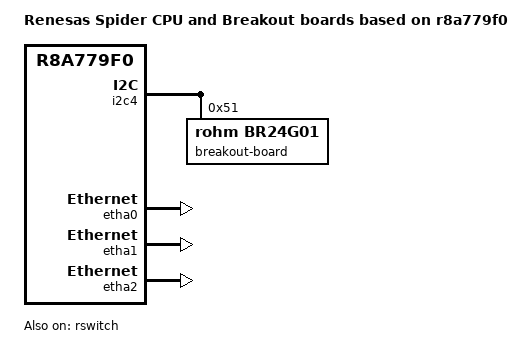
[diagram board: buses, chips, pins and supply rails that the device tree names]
// SPDX-License-Identifier: (GPL-2.0 or MIT)
/*
 * Device Tree Source for the Spider CPU and BreakOut boards
 *
 * Copyright (C) 2021 Renesas Electronics Corp.
 */

/dts-v1/;
#include "r8a779f0-spider-cpu.dtsi"
#include "r8a779f0-spider-ethernet.dtsi"

/ {
	model = "Renesas Spider CPU and Breakout boards based on r8a779f0";
	compatible = "renesas,spider-breakout", "renesas,spider-cpu", "renesas,r8a779f0";

	aliases {
		serial0 = &scif3;
		serial1 = &scif0;
	};

	chosen {
		stdout-path = "serial0:115200n8";
	};
};

&i2c4 {
	eeprom@51 {
		compatible = "rohm,br24g01", "atmel,24c01";
		label = "breakout-board";
		reg = <0x51>;
		pagesize = <8>;
	};
};

&rswitch {
	status = "okay";
//	pinctrl-0 = <&tsn0_pins &tsn1_pins &tsn2_pins>;
//	pinctrl-names = "default";
	#address-cells = <1>;
	#size-cells = <0>;

	ports {
		#address-cells = <1>;
		#size-cells = <0>;
		port@0 {
			reg = <0>;
			phy-handle = <&etha0>;
			#address-cells = <1>;
			#size-cells = <0>;
			etha0: ethernet-phy@0 {
				reg = <1>;
				compatible = "ethernet-phy-ieee802.3-c45";
			};
		};
		port@1 {
			reg = <1>;
			phy-handle = <&etha1>;
			#address-cells = <1>;
			#size-cells = <0>;
			etha1: ethernet-phy@1 {
				reg = <2>;
				compatible = "ethernet-phy-ieee802.3-c45";
			};
		};
		port@2 {
			reg = <2>;
			phy-handle = <&etha2>;
			#address-cells = <1>;
			#size-cells = <0>;
			etha2: ethernet-phy@2 {
				reg = <3>;
				compatible = "ethernet-phy-ieee802.3-c45";
			};
		};
	};
};
